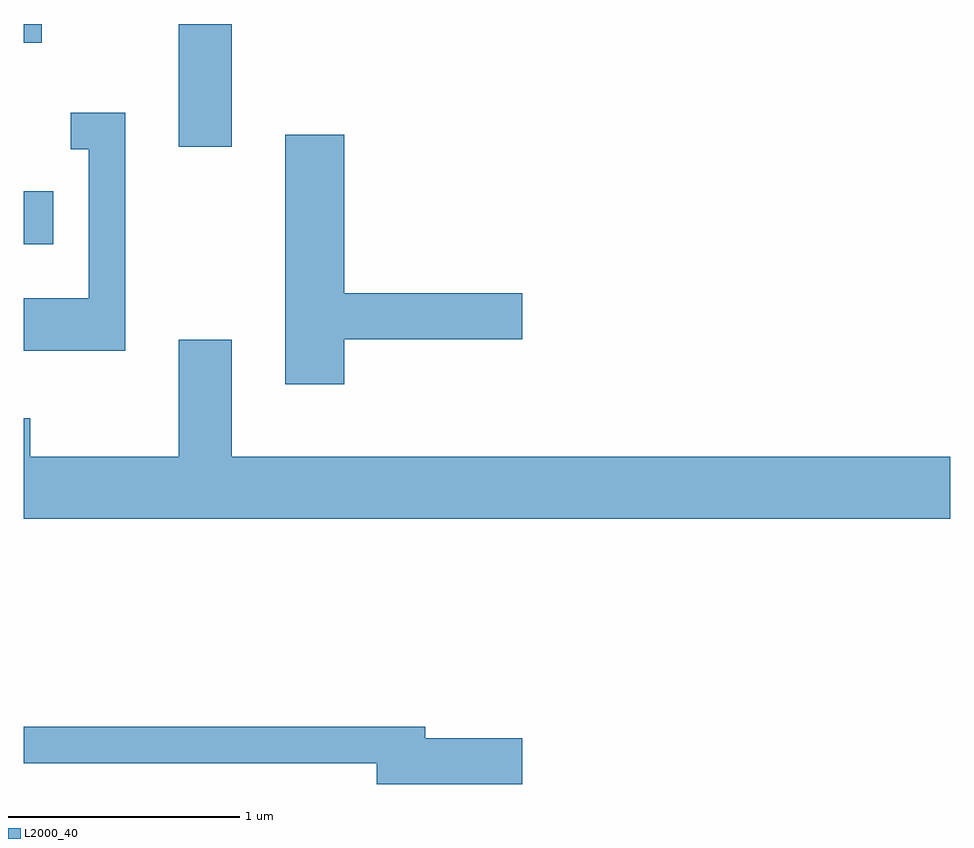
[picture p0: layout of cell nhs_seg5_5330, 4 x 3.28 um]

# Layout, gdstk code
import gdstk
lib = gdstk.Library(unit=1e-6, precision=1e-09)
def R(c, l, rs):  # rectangles x0, y0, x1, y1
    for r in rs: c.add(gdstk.rectangle(r[:2], r[2:], *l))
def P(c, l, *ps):  # polygons
    for p in ps: c.add(gdstk.Polygon(p, *l))
L2000_40 = (2000, 40)

nhs_seg5_5330 = lib.new_cell('nhs_seg5_5330')
R(nhs_seg5_5330, L2000_40, [(343.611,1429.121,343.739,1429.349), (344.281,1429.541,344.509,1430.072), (343.611,1429.991,343.689,1430.072)])
P(nhs_seg5_5330, L2000_40, [(344.049,1429.689),(343.813,1429.689),(343.813,1429.531),(343.891,1429.531),(343.891,1428.889),(343.611,1428.889),(343.611,1428.661),(344.049,1428.661)],
  [(344.994,1428.711),(345.764,1428.711),(345.764,1428.909),(344.994,1428.909),(344.994,1429.594),(344.741,1429.594),(344.741,1428.516),(344.994,1428.516)],
  [(347.611,1428.204),(344.509,1428.204),(344.509,1428.709),(344.281,1428.709),(344.281,1428.204),(343.639,1428.204),(343.639,1428.369),(343.611,1428.369),(343.611,1427.936),(347.611,1427.936)],
  [(345.764,1426.989),(345.344,1426.989),(345.344,1427.039),(343.611,1427.039),(343.611,1426.881),(345.136,1426.881),(345.136,1426.791),(345.764,1426.791)])

lib.write_gds('nhs_seg5_5330.gds')
